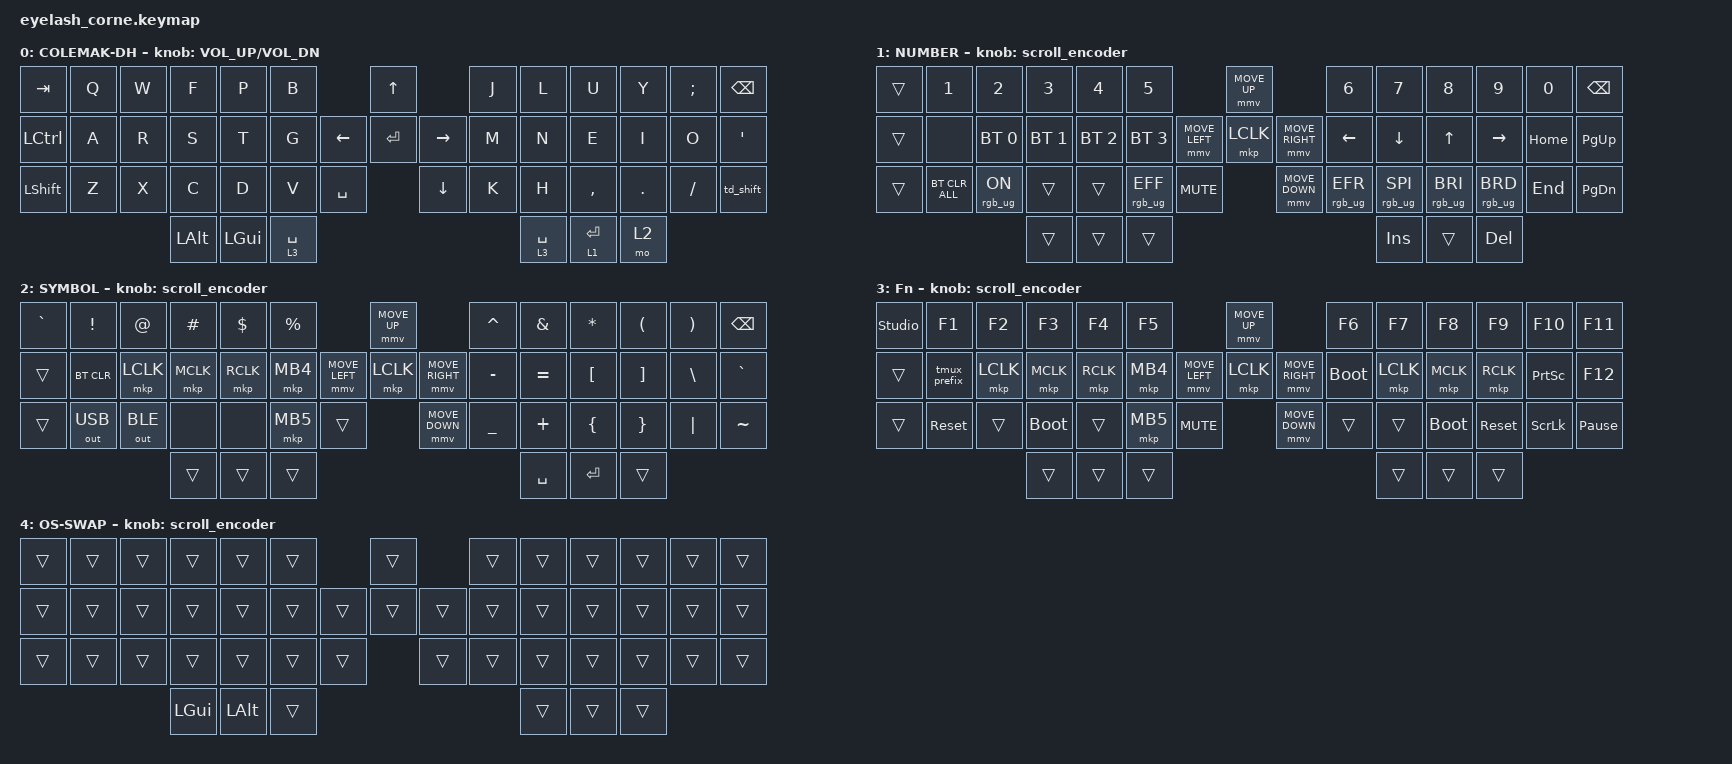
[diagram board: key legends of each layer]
#define ZMK_POINTING_DEFAULT_MOVE_VAL 1200  // 600
#define ZMK_POINTING_DEFAULT_SCRL_VAL 25   // 10

#include <input/processors.dtsi>
#include <zephyr/dt-bindings/input/input-event-codes.h>
#include <behaviors.dtsi>
#include <dt-bindings/zmk/bt.h>
#include <dt-bindings/zmk/keys.h>
#include <dt-bindings/zmk/outputs.h>
#include <dt-bindings/zmk/pointing.h>
#include <dt-bindings/zmk/rgb.h>

&mmv_input_listener { input-processors = <&zip_xy_scaler 2 1>; };

&msc_input_listener { input-processors = <&zip_scroll_scaler 2 1>; };

&msc {
    acceleration-exponent = <1>;      // 0
    time-to-max-speed-ms = <100>;       // 300
    delay-ms = <0>;                   // 0
};

&mmv {
    time-to-max-speed-ms = <500>;
    acceleration-exponent = <1>;
    trigger-period-ms = <16>;
};

&soft_off { hold-time-ms = <2000>; };

/ {
    behaviors {
        // Shift tap-dance: single tap = oneshot shift, double tap = caps word
        // Holding oneshot shift works as held shift (built into ZMK sticky key)
        td_shift: td_shift {
            compatible = "zmk,behavior-tap-dance";
            display-name = "Shift/CapsWord";
            #binding-cells = <0>;
            bindings = <&sk LSHFT>, <&caps_word>;
        };
    };

    // Tmux prefix macro: outputs Ctrl+B in a single keypress
    macros {
        tmux_prefix: tmux_prefix {
            compatible = "zmk,behavior-macro";
            #binding-cells = <0>;
            bindings = <&macro_press &kp LCTRL>, <&macro_tap &kp B>, <&macro_release &kp LCTRL>;
        };
    };

    rgb_encoder: rgb_encoder {
        compatible = "zmk,behavior-sensor-rotate";
        #sensor-binding-cells = <0>;
        bindings = <&rgb_ug RGB_BRI>, <&rgb_ug RGB_BRD>;
    };

    scroll_encoder: scroll_encoder {
        compatible = "zmk,behavior-sensor-rotate";
        #sensor-binding-cells = <0>;
        bindings = <&msc SCRL_DOWN>, <&msc SCRL_UP>;

        tap-ms = <100>;
    };

    combos {
        compatible = "zmk,combos";

        // Soft power off: Q + R + Z (physical positions 1 + 15 + 29)
        softoff {
            bindings = <&soft_off>;
            key-positions = <1 15 29>;
        };

        // Vim Escape: N + E + I simultaneously (right home row, 3 keys to avoid accidental triggers)
        vim_esc {
            bindings = <&kp ESC>;
            key-positions = <23 24 25>;
            timeout-ms = <50>;
        };

        // Backspace: E + I + O simultaneously (right home row, 3 keys to avoid accidental triggers)
        combo_bspc {
            bindings = <&kp BSPC>;
            key-positions = <24 25 26>;
            timeout-ms = <50>;
        };

        // Backtick: Tab + Q simultaneously (top-left corner of left half)
        combo_grave {
            bindings = <&kp GRAVE>;
            key-positions = <0 1>;
            timeout-ms = <50>;
        };

        // OS swap toggle: all four corners simultaneously
        // Tab + Bspc + LSHFT + td_shift (positions 0 + 12 + 28 + 41)
        // Toggles Layer 4 (OS-SWAP), which swaps Alt and Cmd on the left thumbs
        os_swap_toggle {
            bindings = <&tog 4>;
            key-positions = <0 12 28 41>;
            timeout-ms = <80>;
        };
    };

    keymap {
        compatible = "zmk,keymap";

        // ==========================================
        // LAYER 0: COLEMAK-DH (base)
        // ==========================================
        // Left column:  Tab (top), Ctrl (home), Shift (bottom)
        // Right column: Bspc (top), [Quote home], Shift/CapsWord (bottom)
        // Left thumbs:  Alt (outer), Cmd/Super (middle), Nav/mo3 (inner)
        // Right thumbs: Space/Nav (inner), Enter/Num (middle), Sym/mo2 (outer)
        // Combos: N+E=Esc, E+I=Bspc, Tab+Q=Backtick
        default_layer {
            display-name = "COLEMAK-DH";
            bindings = <
&kp TAB     &kp Q  &kp W  &kp F      &kp P     &kp B                               &kp UP                &kp J        &kp L  &kp U      &kp Y    &kp SEMI  &kp BSPC
&kp LCTRL   &kp A  &kp R  &kp S      &kp T     &kp G                     &kp LEFT  &kp ENTER  &kp RIGHT  &kp M        &kp N  &kp E      &kp I    &kp O     &kp SQT
&kp LSHFT   &kp Z  &kp X  &kp C      &kp D     &kp V        &kp SPACE              &kp DOWN              &kp K        &kp H  &kp COMMA  &kp DOT  &kp FSLH  &td_shift
                           &kp LALT   &kp LGUI  &lt 3 SPACE                                                     &lt 3 SPACE  &lt 1 ENTER  &mo 2
            >;

            sensor-bindings = <&inc_dec_kp C_VOLUME_UP C_VOL_DN>;
        };

        // ==========================================
        // LAYER 1: NUMBER (hold right middle thumb / Enter)
        // ==========================================
        // BT safety: BT_CLR_ALL on bottom-left (Z position)
        // BT profiles: R=BT0, S=BT1, T=BT2, G=BT3
        lower_layer {
            display-name = "NUMBER";
            bindings = <
&trans  &kp N1           &kp N2          &kp N3        &kp N4        &kp N5                                         &mmv MOVE_UP                     &kp N6           &kp N7           &kp N8           &kp N9           &kp N0    &kp BSPC
&trans  &none            &bt BT_SEL 0    &bt BT_SEL 1  &bt BT_SEL 2  &bt BT_SEL 3                   &mmv MOVE_LEFT  &mkp LCLK       &mmv MOVE_RIGHT  &kp LEFT         &kp DOWN         &kp UP           &kp RIGHT        &kp HOME  &kp PG_UP
&trans  &bt BT_CLR_ALL   &rgb_ug RGB_ON  &trans        &trans        &rgb_ug RGB_EFF  &kp C_MUTE                    &mmv MOVE_DOWN                   &rgb_ug RGB_EFR  &rgb_ug RGB_SPI  &rgb_ug RGB_BRI  &rgb_ug RGB_BRD  &kp END   &kp PG_DN
                                         &trans        &trans        &trans                                                                          &kp INS          &trans           &kp DEL
            >;

            sensor-bindings = <&scroll_encoder>;
        };

        // ==========================================
        // LAYER 2: SYMBOL (hold right outer thumb)
        // ==========================================
        // Top-left = backtick (instead of &trans)
        raise_layer {
            display-name = "SYMBOL";
            bindings = <
&kp GRAVE  &kp EXCL      &kp AT        &kp HASH   &kp DLLR   &kp PRCNT                            &mmv MOVE_UP                     &kp CARET  &kp AMPS   &kp ASTRK  &kp LPAR  &kp RPAR  &kp BSPC
&trans     &bt BT_CLR    &mkp LCLK     &mkp MCLK  &mkp RCLK  &mkp MB4             &mmv MOVE_LEFT  &mkp LCLK       &mmv MOVE_RIGHT  &kp MINUS  &kp EQUAL  &kp LBKT   &kp RBKT  &kp BSLH  &kp GRAVE
&trans     &out OUT_USB  &out OUT_BLE  &none      &none      &mkp MB5   &trans                    &mmv MOVE_DOWN                   &kp UNDER  &kp PLUS   &kp LBRC   &kp RBRC  &kp PIPE  &kp TILDE
                                       &trans     &trans     &trans                                                                &kp SPACE  &kp RET    &trans
            >;

            sensor-bindings = <&scroll_encoder>;
        };

        // ==========================================
        // LAYER 3: Fn / Nav (hold left inner thumb or right inner thumb / Space)
        // ==========================================
        // Tmux prefix macro on left home row (R position)
        layer_3 {
            display-name = "Fn";
            bindings = <
&studio_unlock  &kp F1          &kp F2     &kp F3       &kp F4     &kp F5                                  &mmv MOVE_UP                     &kp F6       &kp F7     &kp F8       &kp F9      &kp F10          &kp F11
&trans          &tmux_prefix    &mkp LCLK  &mkp MCLK    &mkp RCLK  &mkp MB4                &mmv MOVE_LEFT  &mkp LCLK       &mmv MOVE_RIGHT  &bootloader  &mkp LCLK  &mkp MCLK    &mkp RCLK   &kp PRINTSCREEN  &kp F12
&trans          &sys_reset      &trans     &bootloader  &trans     &mkp MB5  &kp C_MUTE                    &mmv MOVE_DOWN                   &trans       &trans     &bootloader  &sys_reset  &kp SCROLLLOCK   &kp PAUSE_BREAK
                                           &trans       &trans     &trans                                                                   &trans       &trans     &trans
            >;

            sensor-bindings = <&scroll_encoder>;
        };

        // ==========================================
        // LAYER 4: OS-SWAP (toggle via 4-corner combo)
        // ==========================================
        // Swaps Alt (outer) <-> Cmd/Super (middle) on the left thumbs.
        // Activated/deactivated by pressing Tab + Bspc + LSHFT + td_shift together.
        // State persists across sleep, resets on full power cycle.
        os_swap {
            display-name = "OS-SWAP";
            bindings = <
&trans  &trans  &trans  &trans     &trans     &trans                              &trans            &trans  &trans  &trans  &trans  &trans  &trans
&trans  &trans  &trans  &trans     &trans     &trans                  &trans      &trans   &trans   &trans  &trans  &trans  &trans  &trans  &trans
&trans  &trans  &trans  &trans     &trans     &trans      &trans                  &trans            &trans  &trans  &trans  &trans  &trans  &trans
                        &kp LGUI   &kp LALT   &trans                                                       &trans  &trans  &trans
            >;

            sensor-bindings = <&scroll_encoder>;
        };
    };
};
